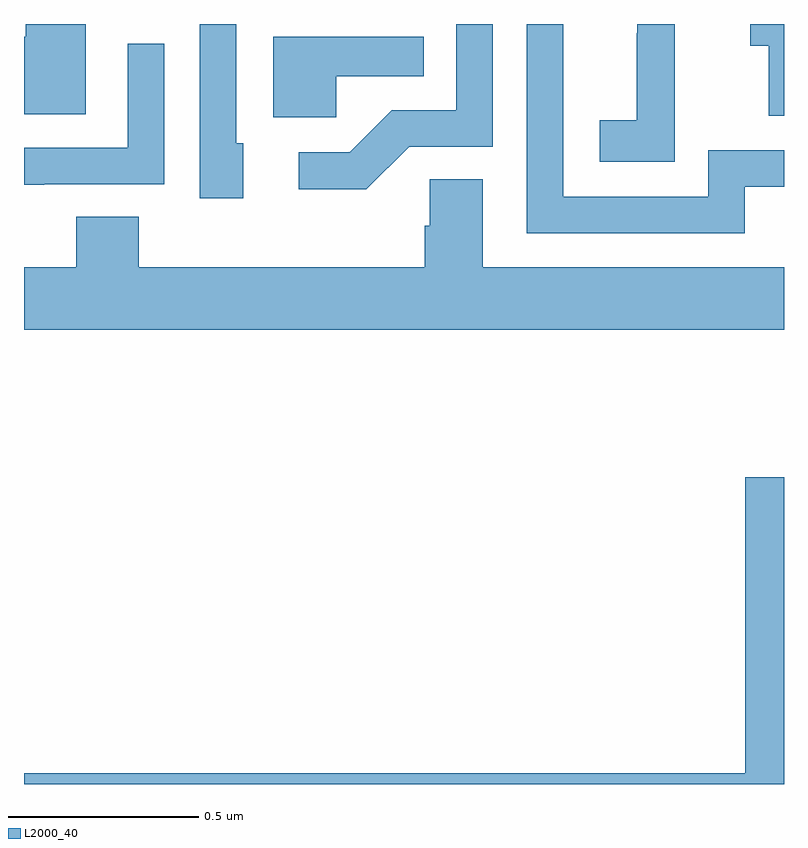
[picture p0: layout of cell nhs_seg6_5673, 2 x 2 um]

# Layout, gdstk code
import gdstk
lib = gdstk.Library(unit=1e-6, precision=1e-09)
def P(c, l, *ps):  # polygons
    for p in ps: c.add(gdstk.Polygon(p, *l))
L2000_40 = (2000, 40)

nhs_seg6_5673 = lib.new_cell('nhs_seg6_5673')
P(nhs_seg6_5673, L2000_40, [(187.014,921.177),(187.233,921.177),(187.233,921.5),(187.137,921.5),(187.137,921.273),(186.968,921.273),(186.857,921.162),(186.723,921.162),(186.723,921.065),(186.901,921.065)],
  [(186.577,921.186),(186.558,921.186),(186.558,921.5),(186.462,921.5),(186.462,921.042),(186.577,921.042)],
  [(187.897,921.072),(188,921.072),(188,921.168),(187.8,921.168),(187.8,921.045),(187.419,921.045),(187.419,921.5),(187.323,921.5),(187.323,920.949),(187.897,920.949)],
  [(188,921.5),(187.911,921.5),(187.911,921.443),(187.96,921.443),(187.96,921.258),(188,921.258)],
  [(187.713,921.343),(187.712,921.343),(187.712,921.5),(187.614,921.5),(187.614,921.476),(187.613,921.476),(187.613,921.247),(187.515,921.247),(187.515,921.137),(187.713,921.137)],
  [(186.163,921.5),(186.005,921.5),(186.005,921.466),(186,921.466),(186,921.263),(186.163,921.263)],
  [(186.822,921.362),(187.052,921.362),(187.052,921.466),(186.656,921.466),(186.656,921.254),(186.822,921.254)],
  [(186.053,921.078),(186.369,921.078),(186.369,921.448),(186.273,921.448),(186.273,921.174),(186,921.174),(186,921.077),(186.053,921.077)],
  [(188,920.86),(187.207,920.86),(187.207,921.092),(187.068,921.092),(187.068,920.969),(187.055,920.969),(187.055,920.86),(186.302,920.86),(186.302,920.993),(186.137,920.993),(186.137,920.86),(186,920.86),(186,920.696),(188,920.696)],
  [(188,920.307),(187.898,920.307),(187.898,919.528),(186,919.528),(186,919.5),(188,919.5)])

lib.write_gds('nhs_seg6_5673.gds')
